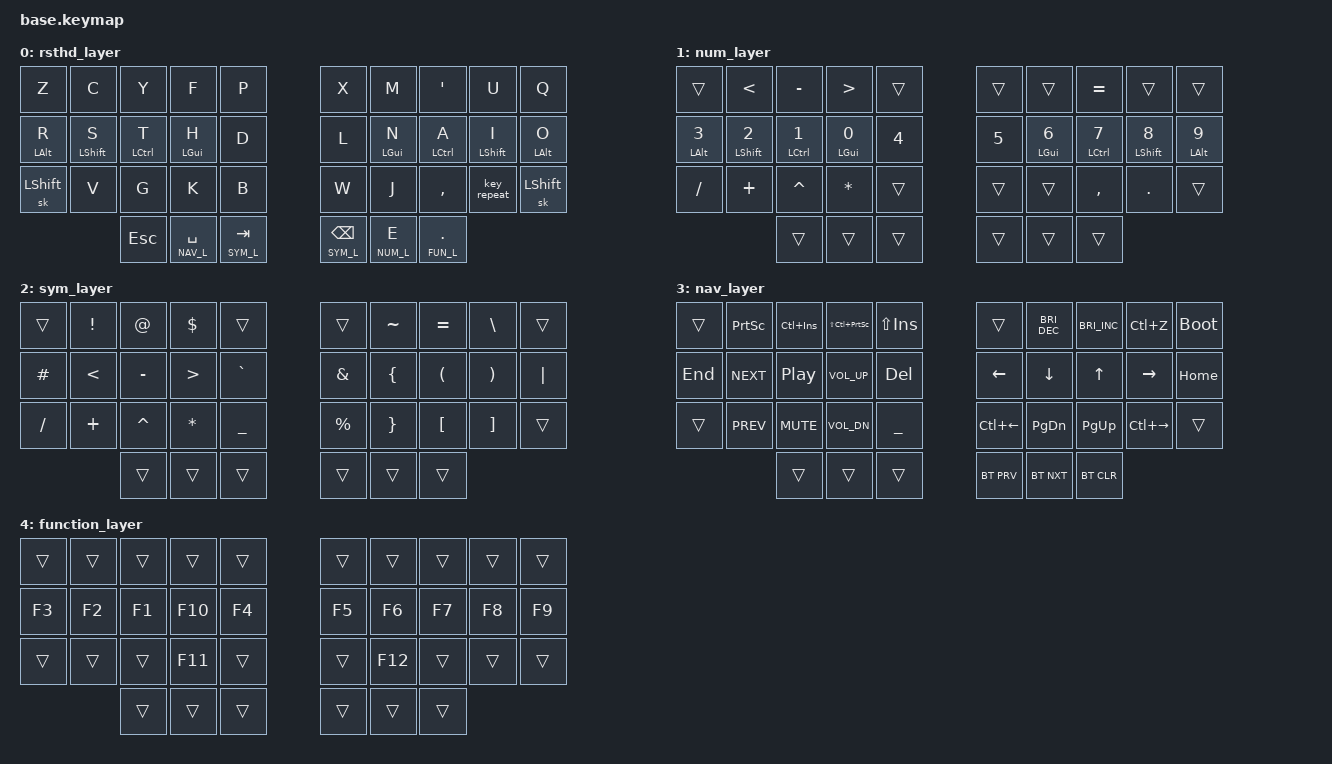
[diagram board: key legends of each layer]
/*
 * Copyright (c) 2021 The ZMK Contributors
 *
 * SPDX-License-Identifier: MIT
 */

#include <behaviors.dtsi>
#include <dt-bindings/zmk/bt.h>
#include <dt-bindings/zmk/keys.h>

&sk {
    release-after-ms = <750>;
    quick-release;
};

&caps_word {
    continue-list = <UNDERSCORE MINUS BSPC>;
    /delete-property/ ignore-modifiers;
};

#define RSTHD_L 0
#define NUM_L   1
#define SYM_L   2
#define NAV_L   3
#define FUN_L   4

#define MY_PSCRN LS(LC(PSCRN))
#define MY_COPY LC(INSERT)
#define MY_PASTE LS(INSERT)
#define VI_U LC(Z)
#define VI_W LC(RIGHT)
#define VI_B LC(LEFT)

/ {
    combos {
        compatible = "zmk,combos";

    // shortcut
    #define COMBO(NAME, BINDINGS, KEYPOS, TIMEOUT) \
          combo_##NAME { \
            timeout-ms = <TIMEOUT>; \
            bindings = <BINDINGS>; \
            key-positions = <KEYPOS>; \
          };

        /*                KEY POSITIONS

          ╭────────────────────╮ ╭────────────────────╮
          │  0   1   2   3   4 │ │  5   6   7   8   9 │
          │ 10  11  12  13  14 │ │ 15  16  17  18  19 │
          │ 20  21  22  23  24 │ │ 25  26  27  28  29 │
          ╰───────╮ 30  31  32 │ │ 33  34  35 ╭───────╯
                  ╰────────────╯ ╰────────────╯        */

        COMBO(caps_word_right, &caps_word, 26 27, 60)
        COMBO(caps_word_left, &caps_word, 22 23, 60)

        COMBO(colon, &kp COLON, 7 8, 60)
        COMBO(semicolon, &kp SEMI, 27 28, 60)
        COMBO(slash, &kp FSLH, 1 2, 60)

        COMBO(minus, &kp MINUS, 31 32, 100)
        COMBO(underscore, &kp UNDER, 33 34, 100)

        COMBO(equal, &kp EQUAL, 12 23, 100)
        COMBO(enter, &kp ENTER, 17 26, 60)

        COMBO(reset_left, &bootloader, 0 1 2 3, 100)
        // COMBO(reset_right, &bootloader, 6 7 8 9, 100)
    };

    behaviors {
        lhm: left_hand_positional_hold_tap {
            compatible = "zmk,behavior-hold-tap";
            label = "LEFT_POSITIONAL_HOLD_TAP";
            #binding-cells = <2>;
            flavor = "tap-preferred";
            tapping-term-ms = <200>;
            quick-tap-ms = <125>;
            require-prior-idle-ms = <125>;
            bindings = <&kp>, <&kp>;
            // hold-trigger-key-positions = <5 6 7 8 9 15 16 17 18 19 25 26 27 28 29 30 31 32 33 34 35>;
            hold-trigger-key-positions = <5 6 7 8 9 10 11 12 13 15 16 17 18 19 25 26 27 28 29 30 31 32 33 34 35>;
        };

        rhm: right_hand_positional_hold_tap {
            compatible = "zmk,behavior-hold-tap";
            label = "RIGHT_POSITIONAL_HOLD_TAP";
            #binding-cells = <2>;
            flavor = "tap-preferred";
            tapping-term-ms = <200>;
            quick-tap-ms = <125>;
            require-prior-idle-ms = <125>;
            bindings = <&kp>, <&kp>;
            // hold-trigger-key-positions = <0 1 2 3 4 10 11 12 13 14 20 21 22 23 24 30 31 32 33 34 35>;
            hold-trigger-key-positions = <0 1 2 3 4 10 11 12 13 14 16 17 18 19 20 21 22 23 24 30 31 32 33 34 35>;
        };

        base_lt: base_layer_hold_tap {
            compatible = "zmk,behavior-hold-tap";
            label = "BASE_LAYER_HOLD_TAP";
            #binding-cells = <2>;
            flavor = "tap-preferred";
            tapping-term-ms = <200>;
            quick-tap-ms = <50>;
            require-prior-idle-ms = <50>;
            bindings = <&mo>, <&kp>;
        };

    };

	keymap {
		compatible = "zmk,keymap";

        // RSTHD
		rsthd_layer {
			bindings = <
                   &kp Z        &kp C         &kp Y         &kp F              &kp P              &kp X               &kp M            &kp APOS                 &kp U         &kp Q
                   &lhm LALT R  &lhm LSHFT S  &lhm LCTRL T  &lhm LGUI H        &kp D              &kp L               &rhm LGUI N      &rhm LCTRL A             &rhm LSHFT I  &rhm LALT O
                   &sk LSHIFT   &kp V         &kp G         &kp K              &kp B              &kp W               &kp J            &kp COMMA                &key_repeat   &sk LSHIFT
				 /*&            &*/           &kp ESC       &base_lt NAV_L SPC &base_lt SYM_L TAB &base_lt SYM_L BSPC &base_lt NUM_L E &base_lt FUN_L DOT    /* &             &*/
			>;
		};

		num_layer {
			bindings = <
                   &trans       &kp LT        &kp MINUS     &kp GT             &trans             &trans              &trans           &kp EQUAL                &trans        &trans
                   &lhm LALT N3 &lhm LSHFT N2 &lhm LCTRL N1 &lhm LGUI N0       &kp N4             &kp N5              &rhm LGUI N6     &rhm LCTRL N7            &rhm LSHFT N8 &rhm LALT N9
                   &kp FSLH     &kp PLUS      &kp CARET     &kp STAR           &trans             &trans              &trans           &kp COMMA                &kp DOT       &trans
				 /*&            &*/           &trans        &trans             &trans             &trans              &trans           &trans    /*             &             &*/
			>;
		};

		sym_layer {
			bindings = <
                   &trans       &kp EXCL      &kp AT        &kp DLLR           &trans             &trans              &kp TILDE        &kp EQUAL                &kp BSLH      &trans
                   &kp HASH     &kp LT        &kp MINUS     &kp GT             &kp GRAVE          &kp AMPS            &kp LBRC         &kp LPAR                 &kp RPAR      &kp PIPE
                   &kp FSLH     &kp PLUS      &kp CARET     &kp STAR           &kp UNDER          &kp PRCNT           &kp RBRC         &kp LBKT                 &kp RBKT      &trans
				 /*&            &*/           &trans        &trans             &trans             &trans              &trans           &trans    /*             &             &*/
			>;
		};

		nav_layer {
			bindings = <
                   &trans       &kp PSCRN     &kp MY_COPY   &kp MY_PSCRN       &kp MY_PASTE       &trans              &kp C_BRI_DEC    &kp C_BRI_INC            &kp VI_U      &bootloader
                   &kp END      &kp C_NEXT    &kp C_PP      &kp C_VOL_UP       &kp DEL            &kp LEFT            &kp DOWN         &kp UP                   &kp RIGHT     &kp HOME
                   &trans       &kp C_PREV    &kp C_MUTE    &kp C_VOL_DN       &kp UNDER          &kp VI_B            &kp PG_DN        &kp PG_UP                &kp VI_W      &trans
				 /*&            &*/           &trans        &trans             &trans             &bt BT_PRV          &bt BT_NXT       &bt BT_CLR /*            &             &*/
			>;
		};

		function_layer {
			bindings = <
                   &trans       &trans        &trans        &trans             &trans             &trans              &trans           &trans                   &trans        &trans
                   &kp F3       &kp F2        &kp F1        &kp F10            &kp F4             &kp F5              &kp F6           &kp F7                   &kp F8        &kp F9
                   &trans       &trans        &trans        &kp F11            &trans             &trans              &kp F12          &trans                   &trans        &trans
				 /*&            &*/           &trans        &trans             &trans             &trans              &trans           &trans /*                &             &*/
			>;
		};
	};
};
